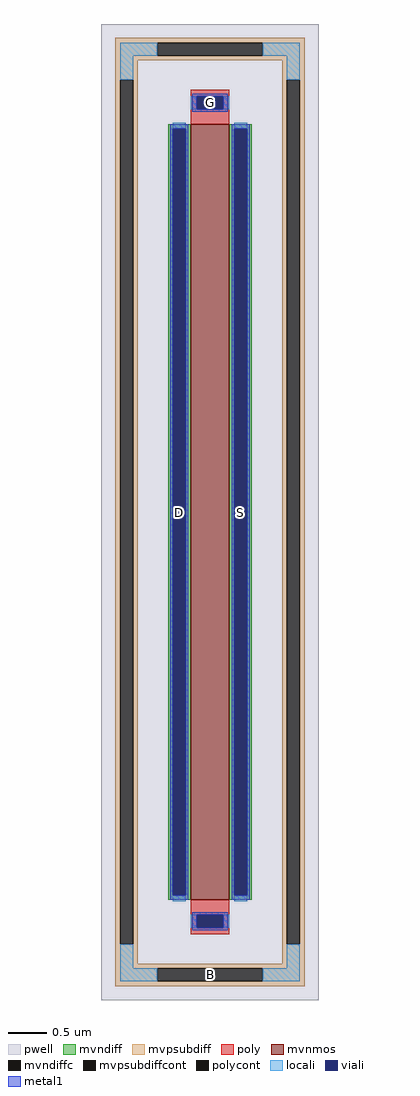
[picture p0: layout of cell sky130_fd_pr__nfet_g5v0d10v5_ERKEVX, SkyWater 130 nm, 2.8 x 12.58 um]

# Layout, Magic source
magic
tech sky130A
magscale 1 2
<< pwell >>
rect -280 -1258 280 1258
<< mvnmos >>
rect -50 -1000 50 1000
<< mvndiff >>
rect -108 988 -50 1000
rect -108 -988 -96 988
rect -62 -988 -50 988
rect -108 -1000 -50 -988
rect 50 988 108 1000
rect 50 -988 62 988
rect 96 -988 108 988
rect 50 -1000 108 -988
<< mvndiffc >>
rect -96 -988 -62 988
rect 62 -988 96 988
<< mvpsubdiff >>
rect -244 1210 244 1222
rect -244 1176 -136 1210
rect 136 1176 244 1210
rect -244 1164 244 1176
rect -244 1114 -186 1164
rect -244 -1114 -232 1114
rect -198 -1114 -186 1114
rect 186 1114 244 1164
rect -244 -1164 -186 -1114
rect 186 -1114 198 1114
rect 232 -1114 244 1114
rect 186 -1164 244 -1114
rect -244 -1176 244 -1164
rect -244 -1210 -136 -1176
rect 136 -1210 244 -1176
rect -244 -1222 244 -1210
<< mvpsubdiffcont >>
rect -136 1176 136 1210
rect -232 -1114 -198 1114
rect 198 -1114 232 1114
rect -136 -1210 136 -1176
<< poly >>
rect -50 1072 50 1088
rect -50 1038 -34 1072
rect 34 1038 50 1072
rect -50 1000 50 1038
rect -50 -1038 50 -1000
rect -50 -1072 -34 -1038
rect 34 -1072 50 -1038
rect -50 -1088 50 -1072
<< polycont >>
rect -34 1038 34 1072
rect -34 -1072 34 -1038
<< locali >>
rect -232 1176 -136 1210
rect 136 1176 232 1210
rect -232 1114 -198 1176
rect 198 1114 232 1176
rect -50 1038 -34 1072
rect 34 1038 50 1072
rect -96 988 -62 1004
rect -96 -1004 -62 -988
rect 62 988 96 1004
rect 62 -1004 96 -988
rect -50 -1072 -34 -1038
rect 34 -1072 50 -1038
rect -232 -1176 -198 -1114
rect 198 -1176 232 -1114
rect -232 -1210 -136 -1176
rect 136 -1210 232 -1176
<< viali >>
rect -34 1038 34 1072
rect -96 -988 -62 988
rect 62 -988 96 988
rect -34 -1072 34 -1038
<< metal1 >>
rect -46 1072 46 1078
rect -46 1038 -34 1072
rect 34 1038 46 1072
rect -46 1032 46 1038
rect -102 988 -56 1000
rect -102 -988 -96 988
rect -62 -988 -56 988
rect -102 -1000 -56 -988
rect 56 988 102 1000
rect 56 -988 62 988
rect 96 -988 102 988
rect 56 -1000 102 -988
rect -46 -1038 46 -1032
rect -46 -1072 -34 -1038
rect 34 -1072 46 -1038
rect -46 -1078 46 -1072
<< labels >>
rlabel mvpsubdiffcont 0 -1193 0 -1193 0 B
port 1 nsew
rlabel mvndiffc -79 0 -79 0 0 D
port 2 nsew
rlabel mvndiffc 79 0 79 0 0 S
port 3 nsew
rlabel polycont 0 1055 0 1055 0 G
port 4 nsew
<< properties >>
string FIXED_BBOX -215 -1193 215 1193
string gencell sky130_fd_pr__nfet_g5v0d10v5
string library sky130
string parameters w 10 l 0.5 m 1 nf 1 diffcov 100 polycov 100 guard 1 glc 1 grc 1 gtc 1 gbc 1 tbcov 100 rlcov 100 topc 1 botc 1 poverlap 0 doverlap 1 lmin 0.50 wmin 0.42 class mosfet compatible {sky130_fd_pr__nfet_01v8 sky130_fd_pr__nfet_01v8_lvt  sky130_fd_bs_flash__special_sonosfet_star  sky130_fd_pr__nfet_g5v0d10v5 sky130_fd_pr__nfet_05v0_nvt  sky130_fd_pr__nfet_03v3_nvt} full_metal 1 conn_gates 0 viasrc 100 viadrn 100 viagate 100 viagb 0 viagr 0 viagl 0 viagt 0 doports 1
<< end >>
